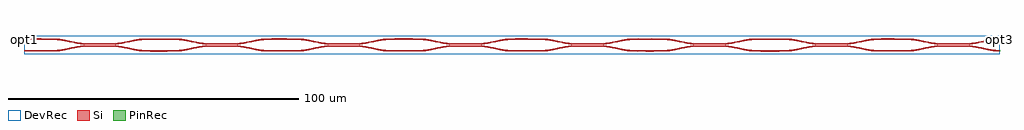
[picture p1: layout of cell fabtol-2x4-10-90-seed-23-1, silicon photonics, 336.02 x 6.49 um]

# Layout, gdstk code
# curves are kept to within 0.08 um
import gdstk
lib = gdstk.Library(unit=1e-6, precision=1e-09)
def R(c, l, rs):  # rectangles x0, y0, x1, y1
    for r in rs: c.add(gdstk.rectangle(r[:2], r[2:], *l))
def P(c, l, *ps):  # polygons
    for p in ps: c.add(gdstk.Polygon(p, *l))
Si = (1, 0)
PinRec = (1, 10)
DevRec = (68, 0)

layer_3_0_phase_sec_3_48 = lib.new_cell('layer-3_0_phase_sec_3$48')
P(layer_3_0_phase_sec_3_48, Si, [(3.396,-0.235),(0,-0.225),(0,0.225),(10,0.225),(10,-0.225)])

layer_1_0_phase_sec_3_48 = lib.new_cell('layer-1_0_phase_sec_3$48')
P(layer_1_0_phase_sec_3_48, Si, [(4.391,-0.232),(0,-0.225),(0,0.225),(10,0.225),(10,-0.225)])

layer_2_0_phase_sec_0_48 = lib.new_cell('layer-2_0_phase_sec_0$48')
P(layer_2_0_phase_sec_0_48, Si, [(2.157,-0.242),(0,-0.225),(0,0.225),(10,0.225),(10,-0.225)])

layer_0_0_phase_sec_0_48 = lib.new_cell('layer-0_0_phase_sec_0$48')
P(layer_0_0_phase_sec_0_48, Si, [(2.951,-0.238),(0,-0.225),(0,0.225),(10,0.225),(10,-0.225)])

layer_2_0_phase_sec_1_48 = lib.new_cell('layer-2_0_phase_sec_1$48')
P(layer_2_0_phase_sec_1_48, Si, [(2.454,-0.237),(0,-0.225),(0,0.225),(10,0.225),(10,-0.225)])

layer_0_0_phase_sec_1_48 = lib.new_cell('layer-0_0_phase_sec_1$48')
P(layer_0_0_phase_sec_1_48, Si, [(2.958,-0.227),(0,-0.225),(0,0.225),(10,0.225),(10,-0.225)])

layer_2_0_phase_sec_2_48 = lib.new_cell('layer-2_0_phase_sec_2$48')
P(layer_2_0_phase_sec_2_48, Si, [(6.182,-0.238),(0,-0.225),(0,0.225),(10,0.225),(10,-0.225)])

dc_arm_up_48 = lib.new_cell('dc_arm_up$48')
R(dc_arm_up_48, Si, [(12,0.1,20,0.55)])
P(dc_arm_up_48, Si, [(12,0.1),(10.861,0.137),(9.344,0.292),(2.966,1.532),(1.481,1.712),(0,1.775),(0,2.225),(1.139,2.188),(2.656,2.033),(9.034,0.793),(10.519,0.613),(12,0.55)],
  [(20,0.1),(20,0.55),(21.481,0.613),(22.966,0.793),(29.344,2.033),(30.861,2.188),(32,2.225),(32,1.775),(30.519,1.712),(29.034,1.532),(22.656,0.292),(21.139,0.137)])

dc_arm_down_48 = lib.new_cell('dc_arm_down$48')
R(dc_arm_down_48, Si, [(12,-0.55,20,-0.1)])
P(dc_arm_down_48, Si, [(0,-2.225),(0,-1.775),(1.481,-1.712),(2.966,-1.532),(9.344,-0.292),(10.861,-0.137),(12,-0.1),(12,-0.55),(10.519,-0.613),(9.034,-0.793),(2.656,-2.033),(1.139,-2.188)],
  [(32,-2.225),(30.861,-2.188),(29.344,-2.033),(22.966,-0.793),(21.481,-0.613),(20,-0.55),(20,-0.1),(21.139,-0.137),(22.656,-0.292),(29.034,-1.532),(30.519,-1.712),(32,-1.775)])

dc_48 = lib.new_cell('dc$48')
dc_48.add(gdstk.Reference(dc_arm_up_48, (0,0)))
dc_48.add(gdstk.Reference(dc_arm_down_48, (0,0)))

layer_2_0_phase_sec_3_48 = lib.new_cell('layer-2_0_phase_sec_3$48')
P(layer_2_0_phase_sec_3_48, Si, [(1.349,-0.241),(0,-0.225),(0,0.225),(10,0.225),(10,-0.225)])

layer_0_0_phase_sec_2_48 = lib.new_cell('layer-0_0_phase_sec_2$48')
P(layer_0_0_phase_sec_2_48, Si, [(6.922,-0.233),(0,-0.225),(0,0.225),(10,0.225),(10,-0.225)])

layer_1_0_phase_sec_2_48 = lib.new_cell('layer-1_0_phase_sec_2$48')
P(layer_1_0_phase_sec_2_48, Si, [(4.66,-0.246),(0,-0.225),(0,0.225),(10,0.225),(10,-0.225)])

layer_3_0_phase_sec_0_48 = lib.new_cell('layer-3_0_phase_sec_0$48')
P(layer_3_0_phase_sec_0_48, Si, [(2.599,-0.23),(0,-0.225),(0,0.225),(10,0.225),(10,-0.225)])

layer_0_0_phase_sec_3_48 = lib.new_cell('layer-0_0_phase_sec_3$48')
P(layer_0_0_phase_sec_3_48, Si, [(1.466,-0.246),(0,-0.225),(0,0.225),(10,0.225),(10,-0.225)])

layer_1_0_phase_sec_0_48 = lib.new_cell('layer-1_0_phase_sec_0$48')
P(layer_1_0_phase_sec_0_48, Si, [(1.275,-0.245),(0,-0.225),(0,0.225),(10,0.225),(10,-0.225)])

layer_3_0_phase_sec_1_48 = lib.new_cell('layer-3_0_phase_sec_1$48')
P(layer_3_0_phase_sec_1_48, Si, [(3.203,-0.248),(0,-0.225),(0,0.225),(10,0.225),(10,-0.225)])

layer_1_0_phase_sec_1_48 = lib.new_cell('layer-1_0_phase_sec_1$48')
P(layer_1_0_phase_sec_1_48, Si, [(2.544,-0.233),(0,-0.225),(0,0.225),(10,0.225),(10,-0.225)])

layer_3_0_phase_sec_2_48 = lib.new_cell('layer-3_0_phase_sec_2$48')
P(layer_3_0_phase_sec_2_48, Si, [(2.242,-0.244),(0,-0.225),(0,0.225),(10,0.225),(10,-0.225)])

fabtol_2x4_10_90_seed_23 = lib.new_cell('fabtol-2x4-10-90-seed-23-1')
R(fabtol_2x4_10_90_seed_23, DevRec, [(0,-1,336,5.494)])
fabtol_2x4_10_90_seed_23.add(gdstk.FlexPath([(0.01,4.248),(-0.01,4.248)], 0.45, ends="flush", simple_path=True, layer=1, datatype=10))  # PinRec
fabtol_2x4_10_90_seed_23.add(gdstk.FlexPath([(335.99,0.248),(336.01,0.248)], 0.45, ends="flush", simple_path=True, layer=1, datatype=10))  # PinRec
fabtol_2x4_10_90_seed_23.add(gdstk.FlexPath([(335.99,4.248),(336.01,4.248)], 0.45, ends="flush", simple_path=True, layer=1, datatype=10))  # PinRec
fabtol_2x4_10_90_seed_23.add(gdstk.Reference(layer_3_0_phase_sec_3_48, (294,0.248)))
fabtol_2x4_10_90_seed_23.add(gdstk.Reference(layer_1_0_phase_sec_3_48, (126,0.248)))
fabtol_2x4_10_90_seed_23.add(gdstk.Reference(layer_2_0_phase_sec_0_48, (168,4.248)))
fabtol_2x4_10_90_seed_23.add(gdstk.Reference(layer_0_0_phase_sec_0_48, (0,4.248)))
fabtol_2x4_10_90_seed_23.add(gdstk.Reference(layer_2_0_phase_sec_1_48, (168,0.248)))
fabtol_2x4_10_90_seed_23.add(gdstk.Reference(layer_0_0_phase_sec_1_48, (0,0.248)))
fabtol_2x4_10_90_seed_23.add(gdstk.Reference(layer_2_0_phase_sec_2_48, (210,4.248)))
fabtol_2x4_10_90_seed_23.add(gdstk.Reference(dc_48, (10,2.248)))
fabtol_2x4_10_90_seed_23.add(gdstk.Reference(dc_48, (52,2.248)))
fabtol_2x4_10_90_seed_23.add(gdstk.Reference(dc_48, (94,2.248)))
fabtol_2x4_10_90_seed_23.add(gdstk.Reference(dc_48, (136,2.248)))
fabtol_2x4_10_90_seed_23.add(gdstk.Reference(dc_48, (178,2.248)))
fabtol_2x4_10_90_seed_23.add(gdstk.Reference(dc_48, (220,2.248)))
fabtol_2x4_10_90_seed_23.add(gdstk.Reference(dc_48, (262,2.248)))
fabtol_2x4_10_90_seed_23.add(gdstk.Reference(dc_48, (304,2.248)))
fabtol_2x4_10_90_seed_23.add(gdstk.Reference(layer_2_0_phase_sec_3_48, (210,0.248)))
fabtol_2x4_10_90_seed_23.add(gdstk.Reference(layer_0_0_phase_sec_2_48, (42,4.248)))
fabtol_2x4_10_90_seed_23.add(gdstk.Reference(layer_1_0_phase_sec_2_48, (126,4.248)))
fabtol_2x4_10_90_seed_23.add(gdstk.Reference(layer_3_0_phase_sec_0_48, (252,4.248)))
fabtol_2x4_10_90_seed_23.add(gdstk.Reference(layer_0_0_phase_sec_3_48, (42,0.248)))
fabtol_2x4_10_90_seed_23.add(gdstk.Reference(layer_1_0_phase_sec_0_48, (84,4.248)))
fabtol_2x4_10_90_seed_23.add(gdstk.Reference(layer_3_0_phase_sec_1_48, (252,0.248)))
fabtol_2x4_10_90_seed_23.add(gdstk.Reference(layer_1_0_phase_sec_1_48, (84,0.248)))
fabtol_2x4_10_90_seed_23.add(gdstk.Reference(layer_3_0_phase_sec_2_48, (294,4.248)))
fabtol_2x4_10_90_seed_23.add(gdstk.Label('opt1', (0,4.248), layer=1, texttype=10))
fabtol_2x4_10_90_seed_23.add(gdstk.Label('opt3', (336,4.248), layer=1, texttype=10))
fabtol_2x4_10_90_seed_23.add(gdstk.Label('opt4', (336,0.248), layer=1, texttype=10))

lib.write_gds('fabtol-2x4-10-90-seed-23-1.gds')
